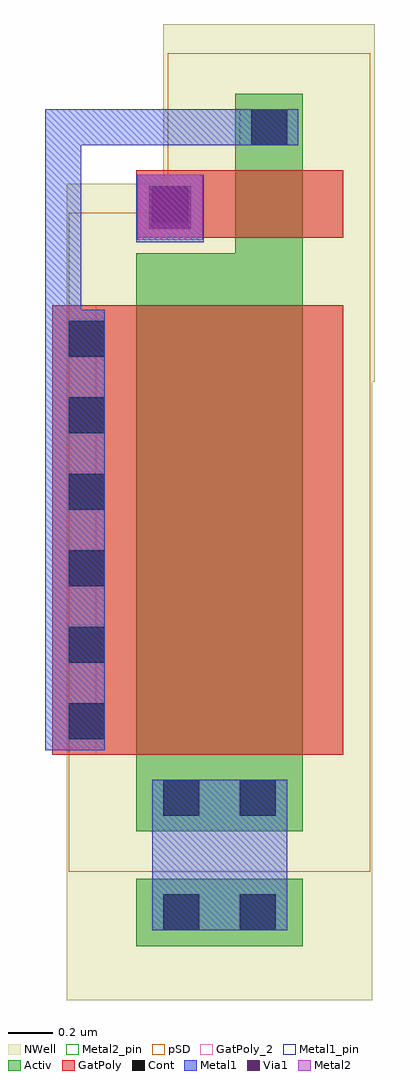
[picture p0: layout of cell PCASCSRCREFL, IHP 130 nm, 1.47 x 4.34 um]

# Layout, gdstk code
import gdstk
lib = gdstk.Library(unit=1e-6, precision=1e-09)
def R(c, l, rs):  # rectangles x0, y0, x1, y1
    for r in rs: c.add(gdstk.rectangle(r[:2], r[2:], *l))
def A(c, l, x, y, w, h, nx, ny, dx, dy):  # array of equal rectangles
    R(c, l, [(x+i*dx, y+j*dy, x+i*dx+w, y+j*dy+h) for i in range(nx) for j in range(ny)])
Activ = (1, 0)
GatPoly = (5, 0)
GatPoly_2 = (5, 2)
Cont = (6, 0)
Metal1 = (8, 0)
Metal1_pin = (8, 2)
Metal2 = (10, 0)
Metal2_pin = (10, 2)
pSD = (14, 0)
Via1 = (19, 0)
NWell = (31, 0)

switchedpmoscascode_1 = lib.new_cell('SwitchedPMOSCascode$1')
R(switchedpmoscascode_1, Activ, [(0.29,-0.38,0.59,0.49)])
R(switchedpmoscascode_1, GatPoly, [(-0.15,-0.15,0.77,0.15)])
R(switchedpmoscascode_1, Cont, [(-0.08,-0.08,0.08,0.08), (0.36,0.26,0.52,0.42)])
R(switchedpmoscascode_1, Metal1, [(-0.08,-0.13,0.08,0.13), (0.31,0.26,0.57,0.42)])
R(switchedpmoscascode_1, pSD, [(-0.01,-0.56,0.89,0.67)])
R(switchedpmoscascode_1, NWell, [(-0.03,-0.79,0.91,0.8)])

via_stack_1_1 = lib.new_cell('via_stack$1$1')
R(via_stack_1_1, Metal1, [(-0.145,-0.145,0.145,0.145)])
R(via_stack_1_1, Metal2, [(-0.145,-0.145,0.145,0.145)])
R(via_stack_1_1, Via1, [(-0.095,-0.095,0.095,0.095)])

pcascsrc = lib.new_cell('PCASCSRC')
R(pcascsrc, Activ, [(-0.15,-3.3,0.59,-3), (-0.15,-2.79,0.59,-0.22)])
R(pcascsrc, GatPoly, [(-0.33,-2.45,0.77,-0.45)])
R(pcascsrc, GatPoly_2, [(-0.33,-2.45,0.77,-0.45)])
R(pcascsrc, Cont, [(-0.03,-3.23,0.13,-3.07), (0.31,-3.23,0.47,-3.07), (-0.45,-1.02,-0.29,-0.86), (-0.45,-0.68,-0.29,-0.52)])
R(pcascsrc, Metal1, [(-0.08,-3.23,0.52,-2.56), (-0.15,-0.17,0.15,0.13)])
R(pcascsrc, Metal1_pin, [(-0.08,-3.23,0.52,-2.56), (0.31,0.26,0.57,0.42)])
R(pcascsrc, Metal2_pin, [(-0.145,-0.16,0.145,0.13)])
R(pcascsrc, pSD, [(-0.45,-2.97,0.89,-0.04)])
R(pcascsrc, NWell, [(-0.46,-3.54,0.9,0.09)])
pcascsrc.add(gdstk.Reference(switchedpmoscascode_1, (0,0)))
pcascsrc.add(gdstk.Reference(via_stack_1_1, (0,-0.015)))
pcascsrc.add(gdstk.Label('VDD', (0.22,-2.895), layer=8, texttype=2))
pcascsrc.add(gdstk.Label('VcascodeP', (0,0), layer=8, texttype=2))
pcascsrc.add(gdstk.Label('Iout', (0.44,0.34), layer=8, texttype=2))
pcascsrc.add(gdstk.Label('VbiasP', (0.22,-1.45), layer=5, texttype=2))
pcascsrc.add(gdstk.Label('VcascodeP', (0,-0.015), layer=10, texttype=2))

pcascsrcrefl = lib.new_cell('PCASCSRCREFL')
R(pcascsrcrefl, GatPoly, [(-0.525,-2.45,-0.15,-0.45)])
A(pcascsrcrefl, Cont, -0.45, -2.38, 0.16, 0.16, 1, 4, 0, 0.34)
R(pcascsrcrefl, Cont, [(-0.03,-2.72,0.13,-2.56), (0.31,-2.72,0.47,-2.56)])
R(pcascsrcrefl, Metal1, [(-0.45,-2.43,-0.29,-0.47)])
pcascsrcrefl.add(gdstk.FlexPath([(0.36,0.34),(-0.475,0.34),(-0.475,-2.43)], 0.16, ends="flush", simple_path=True, layer=8, datatype=0))  # Metal1
pcascsrcrefl.add(gdstk.Reference(pcascsrc, (0,0)))

lib.write_gds('PCASCSRCREFL.gds')
